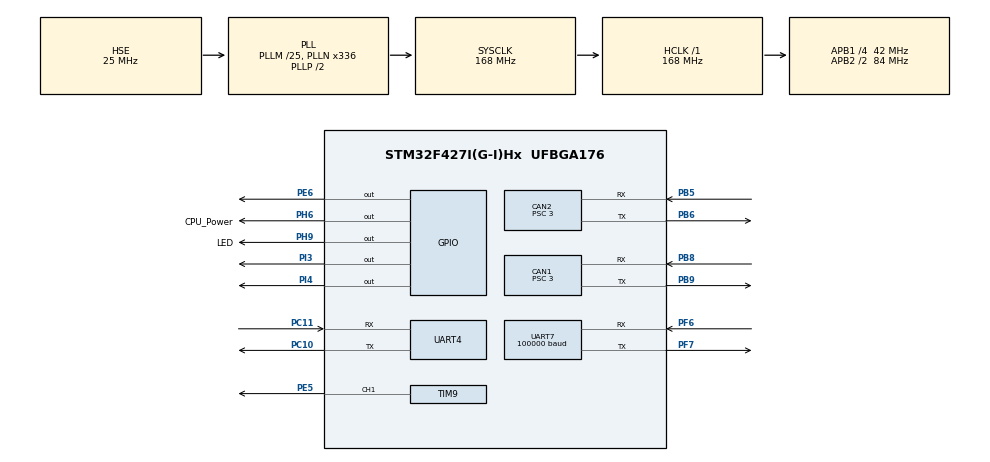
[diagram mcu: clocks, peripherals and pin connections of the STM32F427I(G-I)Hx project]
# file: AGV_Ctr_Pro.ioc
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CAN1.ABOM=ENABLE
CAN1.BS1=CAN_BS1_6TQ
CAN1.BS2=CAN_BS2_7TQ
CAN1.CalculateTimeQuantum=71.42857142857143
CAN1.Prescaler=3
CAN2.ABOM=ENABLE
CAN2.BS1=CAN_BS1_6TQ
CAN2.BS2=CAN_BS2_7TQ
CAN2.CalculateTimeQuantum=71.42857142857143
CAN2.Prescaler=3
Dma.Request0=UART7_RX
Dma.Request1=UART4_RX
Dma.UART4_RX.1.Direction=DMA_PERIPH_TO_MEMORY
Dma.UART4_RX.1.FIFOMode=DMA_FIFOMODE_DISABLE
Dma.UART4_RX.1.Instance=DMA1_Stream2
Dma.UART4_RX.1.MemDataAlignment=DMA_MDATAALIGN_BYTE
Dma.UART4_RX.1.MemInc=DMA_MINC_ENABLE
Dma.UART4_RX.1.Mode=DMA_NORMAL
Dma.UART4_RX.1.PeriphDataAlignment=DMA_PDATAALIGN_BYTE
Dma.UART4_RX.1.PeriphInc=DMA_PINC_DISABLE
Dma.UART4_RX.1.Priority=DMA_PRIORITY_LOW
Dma.UART7_RX.0.Direction=DMA_PERIPH_TO_MEMORY
Dma.UART7_RX.0.FIFOMode=DMA_FIFOMODE_DISABLE
Dma.UART7_RX.0.Instance=DMA1_Stream3
Dma.UART7_RX.0.MemDataAlignment=DMA_MDATAALIGN_BYTE
Dma.UART7_RX.0.MemInc=DMA_MINC_ENABLE
Dma.UART7_RX.0.Mode=DMA_NORMAL
Dma.UART7_RX.0.PeriphDataAlignment=DMA_PDATAALIGN_BYTE
Dma.UART7_RX.0.PeriphInc=DMA_PINC_DISABLE
Dma.UART7_RX.0.Priority=DMA_PRIORITY_LOW
FREERTOS.Tasks01=AGV_Ctr_Task,24,512,tsk_agv_ctr,Default,NULL,Dynamic,NULL,NULL;Gps_Task,8,512,tsk_gps,Default,NULL,Dynamic,NULL,NULL;Sbus_Task,8,512,tsk_sbus,Default,NULL,Dynamic,NULL,NULL;RTK_Task,8,1024,tsk_rtk,Default,NULL,Dynamic,NULL,NULL
Mcu.Family=STM32F4
Mcu.Name=STM32F427I(G-I)Hx
Mcu.Package=UFBGA176
NVIC.CAN2_RX0_IRQn=true\:5\:0\:false\:false\:true\:true\:true\:true
NVIC.DMA1_Stream2_IRQn=true\:5\:0\:false\:false\:true\:true\:false\:true
NVIC.DMA1_Stream3_IRQn=true\:5\:0\:false\:false\:true\:true\:false\:true
NVIC.PriorityGroup=NVIC_PRIORITYGROUP_4
NVIC.TIM1_UP_TIM10_IRQn=true\:0\:0\:false\:false\:true\:false\:false\:true
NVIC.TimeBase=TIM1_UP_TIM10_IRQn
NVIC.TimeBaseIP=TIM1
NVIC.UART4_IRQn=true\:5\:0\:false\:false\:true\:true\:true\:true
NVIC.UART7_IRQn=true\:5\:0\:false\:false\:true\:true\:true\:true
PA13.Mode=Trace_Asynchronous_SW
PA13.Signal=SYS_JTMS-SWDIO
PA14.Mode=Trace_Asynchronous_SW
PA14.Signal=SYS_JTCK-SWCLK
PB3.Mode=Trace_Asynchronous_SW
PB3.Signal=SYS_JTDO-SWO
PB5.Mode=Slave
PB5.Signal=CAN2_RX
PB6.Mode=Slave
PB6.Signal=CAN2_TX
PB8.Mode=Master
PB8.Signal=CAN1_RX
PB9.Mode=Master
PB9.Signal=CAN1_TX
PC10.Mode=Asynchronous
PC10.Signal=UART4_TX
PC11.Mode=Asynchronous
PC11.Signal=UART4_RX
PE5.Signal=S_TIM9_CH1
PE6.GPIO_PuPd=GPIO_PULLDOWN
PE6.GPIO_Speed=GPIO_SPEED_FREQ_LOW
PE6.Signal=GPIO_Output
PF6.Mode=Asynchronous
PF6.Signal=UART7_RX
PF7.Mode=Asynchronous
PF7.Signal=UART7_TX
PH0/OSC_IN.Mode=HSE-External-Oscillator
PH0/OSC_IN.Signal=RCC_OSC_IN
PH1/OSC_OUT.Mode=HSE-External-Oscillator
PH1/OSC_OUT.Signal=RCC_OSC_OUT
PH6.GPIO_Label=CPU_Power
PH6.GPIO_PuPd=GPIO_PULLUP
PH6.PinState=GPIO_PIN_SET
PH6.Signal=GPIO_Output
PH9.GPIO_Label=LED
PH9.GPIO_PuPd=GPIO_PULLDOWN
PH9.Signal=GPIO_Output
PI3.GPIO_PuPd=GPIO_PULLUP
PI3.Signal=GPIO_Output
PI4.GPIO_PuPd=GPIO_PULLUP
PI4.Signal=GPIO_Output
ProjectManager.HeapSize=0x200
ProjectManager.StackSize=0x400
ProjectManager.TargetToolchain=STM32CubeIDE
RCC.48MHZClocksFreq_Value=84000000
RCC.AHBFreq_Value=168000000
RCC.APB1CLKDivider=RCC_HCLK_DIV4
RCC.APB1Freq_Value=42000000
RCC.APB1TimFreq_Value=84000000
RCC.APB2CLKDivider=RCC_HCLK_DIV2
RCC.APB2Freq_Value=84000000
RCC.APB2TimFreq_Value=168000000
RCC.CortexFreq_Value=168000000
RCC.HCLKFreq_Value=168000000
RCC.HSE_VALUE=25000000
RCC.HSI_VALUE=16000000
RCC.LSE_VALUE=32768
RCC.PLLM=25
RCC.PLLN=336
RCC.PLLSourceVirtual=RCC_PLLSOURCE_HSE
RCC.SYSCLKFreq_VALUE=168000000
RCC.SYSCLKSource=RCC_SYSCLKSOURCE_PLLCLK
RCC.VCOOutputFreq_Value=336000000
SH.S_TIM9_CH1.0=TIM9_CH1,PWM Generation1 CH1
TIM9.Channel-PWM\ Generation1\ CH1=TIM_CHANNEL_1
TIM9.OCMode_PWM-PWM\ Generation1\ CH1=TIM_OCMODE_PWM1
TIM9.Period=1999
TIM9.Prescaler=1679
TIM9.Pulse-PWM\ Generation1\ CH1=150
UART4.VirtualMode=Asynchronous
UART7.BaudRate=100000
UART7.Parity=PARITY_EVEN
UART7.StopBits=UART_STOPBITS_2
UART7.VirtualMode=Asynchronous
UART7.WordLength=WORDLENGTH_9B
VP_FREERTOS_VS_CMSIS_V2.Mode=CMSIS_V2
VP_SYS_VS_tim1.Mode=TIM1
VP_TIM9_VS_ClockSourceINT.Mode=Internal
board=custom

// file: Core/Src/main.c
/* USER CODE BEGIN Header */
/**
  ******************************************************************************
  * @file           : main.c
  * @brief          : Main program body
  ******************************************************************************
  * @attention
  *
  * <h2><center>&copy; Copyright (c) 2020 STMicroelectronics.
  * All rights reserved.</center></h2>
  *
  * This software component is licensed by ST under Ultimate Liberty license
  * SLA0044, the "License"; You may not use this file except in compliance with
  * the License. You may obtain a copy of the License at:
  *                             www.st.com/SLA0044
  *
  ******************************************************************************
  */
/* USER CODE END Header */

#include "main.h"
#include "cmsis_os.h"
#include "can.h"
#include "dma.h"
#include "tim.h"
#include "usart.h"
#include "gpio.h"

/* USER CODE BEGIN Includes */
#include "sbus_rc.h"
#include "hw_can.h"
#include "agv_ctr.h"
#include "agv_def.h"
#include "hw_ublox.h"
/* USER CODE END Includes */

void SystemClock_Config(void);
void MX_FREERTOS_Init(void);

int main(void)
{

  /* MCU Configuration--------------------------------------------------------*/

  /* Reset of all peripherals, Initializes the Flash interface and the Systick. */
  HAL_Init();

  /* Configure the system clock */
  SystemClock_Config();

  /* Initialize all configured peripherals */
  MX_GPIO_Init();
  MX_DMA_Init();
  MX_UART4_Init();
  MX_UART7_Init();
  MX_CAN2_Init();
  MX_TIM9_Init();
  MX_CAN1_Init();

  /* Init scheduler */
  osKernelInitialize();  /* Call init function for freertos objects (in freertos.c) */
  MX_FREERTOS_Init();
  /* Start scheduler */
  osKernelStart();

  /* We should never get here as control is now taken by the scheduler */
  /* Infinite loop */
  while (1)
  {

  }
}

void SystemClock_Config(void)
{
  RCC_OscInitTypeDef RCC_OscInitStruct = {0};
  RCC_ClkInitTypeDef RCC_ClkInitStruct = {0};

  /** Configure the main internal regulator output voltage
  */
  __HAL_RCC_PWR_CLK_ENABLE();
  __HAL_PWR_VOLTAGESCALING_CONFIG(PWR_REGULATOR_VOLTAGE_SCALE1);
  /** Initializes the CPU, AHB and APB busses clocks
  */
  RCC_OscInitStruct.OscillatorType = RCC_OSCILLATORTYPE_HSE;
  RCC_OscInitStruct.HSEState = RCC_HSE_ON;
  RCC_OscInitStruct.PLL.PLLState = RCC_PLL_ON;
  RCC_OscInitStruct.PLL.PLLSource = RCC_PLLSOURCE_HSE;
  RCC_OscInitStruct.PLL.PLLM = 25;
  RCC_OscInitStruct.PLL.PLLN = 336;
  RCC_OscInitStruct.PLL.PLLP = RCC_PLLP_DIV2;
  RCC_OscInitStruct.PLL.PLLQ = 4;
  if (HAL_RCC_OscConfig(&RCC_OscInitStruct) != HAL_OK)
  {
    Error_Handler();
  }
  /** Initializes the CPU, AHB and APB busses clocks
  */
  RCC_ClkInitStruct.ClockType = RCC_CLOCKTYPE_HCLK|RCC_CLOCKTYPE_SYSCLK
                              |RCC_CLOCKTYPE_PCLK1|RCC_CLOCKTYPE_PCLK2;
  RCC_ClkInitStruct.SYSCLKSource = RCC_SYSCLKSOURCE_PLLCLK;
  RCC_ClkInitStruct.AHBCLKDivider = RCC_SYSCLK_DIV1;
  RCC_ClkInitStruct.APB1CLKDivider = RCC_HCLK_DIV4;
  RCC_ClkInitStruct.APB2CLKDivider = RCC_HCLK_DIV2;

  if (HAL_RCC_ClockConfig(&RCC_ClkInitStruct, FLASH_LATENCY_5) != HAL_OK)
  {
    Error_Handler();
  }
}

/* USER CODE BEGIN 4 */
void HAL_CAN_RxFifo0MsgPendingCallback(CAN_HandleTypeDef *CanHandle)
{
	if (HAL_CAN_GetRxMessage(CanHandle, CAN_RX_FIFO0, &RxHeader, RxData) != HAL_OK)
	{
		Error_Handler();
	}
	agv_canMsgProc();
}
/* USER CODE END 4 */

 /**
  * @brief  Period elapsed callback in non blocking mode
  * @note   This function is called  when TIM1 interrupt took place, inside
  * HAL_TIM_IRQHandler(). It makes a direct call to HAL_IncTick() to increment
  * a global variable "uwTick" used as application time base.
  * @param  htim : TIM handle
  * @retval None
  */
void HAL_TIM_PeriodElapsedCallback(TIM_HandleTypeDef *htim)
{
  if (htim->Instance == TIM1) {
    HAL_IncTick();
  }
}

void Error_Handler(void)
{
}

/************************ (C) COPYRIGHT STMicroelectronics *****END OF FILE****/

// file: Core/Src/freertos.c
/* USER CODE BEGIN Header */
/**
 ******************************************************************************
 * File Name          : freertos.c
 * Description        : Code for freertos applications
 ******************************************************************************
 * @attention
 *
 * <h2><center>&copy; Copyright (c) 2020 STMicroelectronics.
 * All rights reserved.</center></h2>
 *
 * This software component is licensed by ST under Ultimate Liberty license
 * SLA0044, the "License"; You may not use this file except in compliance with
 * the License. You may obtain a copy of the License at:
 *                             www.st.com/SLA0044
 *
 ******************************************************************************
 */
/* USER CODE END Header */

#include "FreeRTOS.h"
#include "task.h"
#include "main.h"
#include "cmsis_os.h"

/* USER CODE BEGIN Includes */
#include "can.h"
#include "dma.h"
#include "tim.h"
#include "usart.h"
#include "gpio.h"
#include "sbus_rc.h"
#include "hw_can.h"
#include "agv_ctr.h"
#include "agv_def.h"
#include "hw_ublox.h"
/* USER CODE END Includes */

/* Definitions for AGV_Ctr_Task */
osThreadId_t AGV_Ctr_TaskHandle;
const osThreadAttr_t AGV_Ctr_Task_attributes = {
  .name = "AGV_Ctr_Task",
  .priority = (osPriority_t) osPriorityNormal,
  .stack_size = 512 * 4
};
/* Definitions for Gps_Task */
osThreadId_t Gps_TaskHandle;
const osThreadAttr_t Gps_Task_attributes = {
  .name = "Gps_Task",
  .priority = (osPriority_t) osPriorityLow,
  .stack_size = 512 * 4
};
/* Definitions for Sbus_Task */
osThreadId_t Sbus_TaskHandle;
const osThreadAttr_t Sbus_Task_attributes = {
  .name = "Sbus_Task",
  .priority = (osPriority_t) osPriorityLow,
  .stack_size = 512 * 4
};
/* Definitions for RTK_Task */
osThreadId_t RTK_TaskHandle;
const osThreadAttr_t RTK_Task_attributes = {
  .name = "RTK_Task",
  .priority = (osPriority_t) osPriorityLow,
  .stack_size = 1024 * 4
};

void tsk_agv_ctr(void *argument);
void tsk_gps(void *argument);
void tsk_sbus(void *argument);
void tsk_rtk(void *argument);

void MX_FREERTOS_Init(void); /* (MISRA C 2004 rule 8.1) */

void MX_FREERTOS_Init(void) {
  /* USER CODE BEGIN Init */
	sbus_init();
	hw_canInit();
	agv_ctr_init();
	hw_ubloxInit();
	HAL_GPIO_WritePin(CPU_Power_GPIO_Port, CPU_Power_Pin, GPIO_PIN_RESET);
	HAL_Delay(1000);
	HAL_GPIO_WritePin(CPU_Power_GPIO_Port, CPU_Power_Pin, GPIO_PIN_SET);
  /* USER CODE END Init */

  /* Create the thread(s) */
  /* creation of AGV_Ctr_Task */
  AGV_Ctr_TaskHandle = osThreadNew(tsk_agv_ctr, NULL, &AGV_Ctr_Task_attributes);

  /* creation of Gps_Task */
  Gps_TaskHandle = osThreadNew(tsk_gps, NULL, &Gps_Task_attributes);

  /* creation of Sbus_Task */
  Sbus_TaskHandle = osThreadNew(tsk_sbus, NULL, &Sbus_Task_attributes);

  /* creation of RTK_Task */
  RTK_TaskHandle = osThreadNew(tsk_rtk, NULL, &RTK_Task_attributes);

}

void tsk_agv_ctr(void *argument)
{
  /* USER CODE BEGIN tsk_agv_ctr */

	/* Infinite loop */
	for(;;)
	{
		agv_sysProc();
		osDelay(10);
	}
  /* USER CODE END tsk_agv_ctr */
}

void tsk_gps(void *argument)
{
  /* USER CODE BEGIN tsk_gps */
	/* Infinite loop */
	for(;;)
	{
		gps_uploadData();
		osDelay(10);
	}
  /* USER CODE END tsk_gps */
}

void tsk_sbus(void *argument)
{
  /* USER CODE BEGIN tsk_sbus */
	/* Infinite loop */
	for(;;)
	{
		osDelay(10);
	}
  /* USER CODE END tsk_sbus */
}

void tsk_rtk(void *argument)
{
  /* USER CODE BEGIN tsk_rtk */
  /* Infinite loop */
  for(;;)
  {
	  agv_procRTKMsg();
	  osDelay(10);
  }
  /* USER CODE END tsk_rtk */
}

/************************ (C) COPYRIGHT STMicroelectronics *****END OF FILE****/
